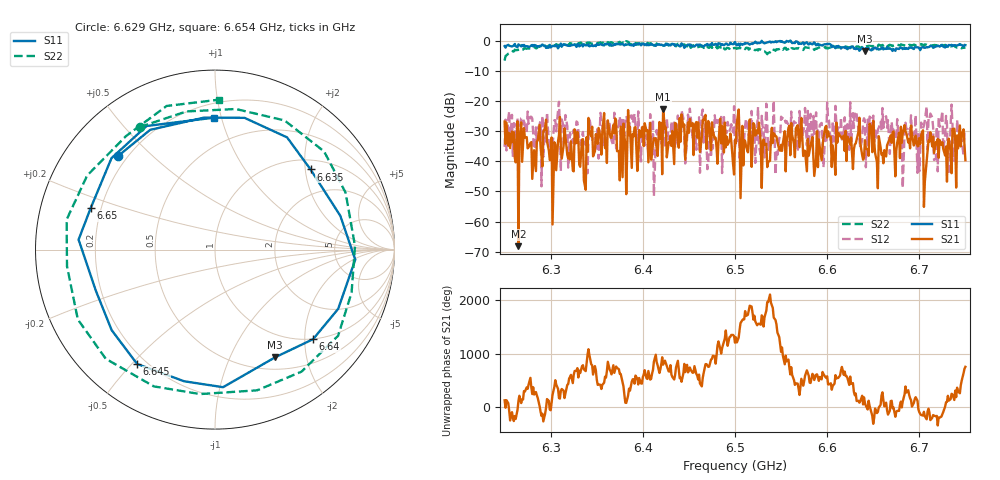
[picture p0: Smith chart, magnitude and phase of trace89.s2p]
# Hz S RI R 50
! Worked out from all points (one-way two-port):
!   401 points, 6.25 GHz to 6.75 GHz, reference 50 ohm
!   highest |S21| = -22.58 dB at 6.422 GHz (marker M1); lowest = -68.2 dB at 6.265 GHz (marker M2)
!   lowest |S11| = -3.3 dB at 6.641 GHz (marker M3), VSWR 5.40, Z = 32.8 - j74.7 ohm
!   |S11| at or under -10 dB: nowhere
!   |S22| runs from -6.4 to 0.0 dB; largest |S21 - S12| = 0.13
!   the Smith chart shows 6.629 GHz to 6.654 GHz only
!   S11 on the Smith chart (normalised r, x): 6.629 GHz: 0.16, +0.39; 6.635 GHz: 1.24, +2.14; 6.64 GHz: 0.99, -2.20; 6.645 GHz: 0.16, -0.52; 6.65 GHz: 0.16, +0.16; 6.654 GHz: 0.30, +0.94
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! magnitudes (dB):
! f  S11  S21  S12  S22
! 6.25 GHz  -1.6  -26.7  -35.1  -6.4
! 6.265 GHz  -1.1  -68.2  -35.4  -2.9
! 6.295 GHz  -2.2  -26.1  -33.4  -1.8
! 6.3 GHz  -2.1  -39.5  -33.4  -1.6
! 6.306 GHz  -1.2  -42.9  -30.0  -1.0
! 6.334 GHz  -1.1  -32.7  -31.5  -0.6
! 6.342 GHz  -1.7  -30.0  -25.4  -0.4
! 6.418 GHz  -1.1  -26.9  -31.6  -1.1
! 6.422 GHz  -1.5  -22.6  -26.8  -1.4
! 6.5 GHz  -0.3  -33.0  -36.1  -2.2
! 6.546 GHz  -0.1  -33.6  -37.8  -2.7
! 6.552 GHz  -0.3  -33.8  -25.1  -2.8
! 6.584 GHz  -1.1  -31.9  -34.3  -2.2
! 6.629 GHz  -2.5  -35.9  -28.9  -1.9
! 6.635 GHz  -3.2  -25.5  -32.8  -2.0
! 6.64 GHz  -2.6  -38.7  -25.6  -1.6
! 6.641 GHz  -3.3  -33.0  -26.4  -1.7
! 6.645 GHz  -2.3  -38.1  -34.8  -1.3
! 6.65 GHz  -2.7  -26.5  -24.8  -1.7
! 6.654 GHz  -2.7  -40.2  -32.1  -1.6
! 6.668 GHz  -2.3  -32.4  -37.5  -1.2
! 6.75 GHz  -1.3  -39.6  -29.1  -2.2
